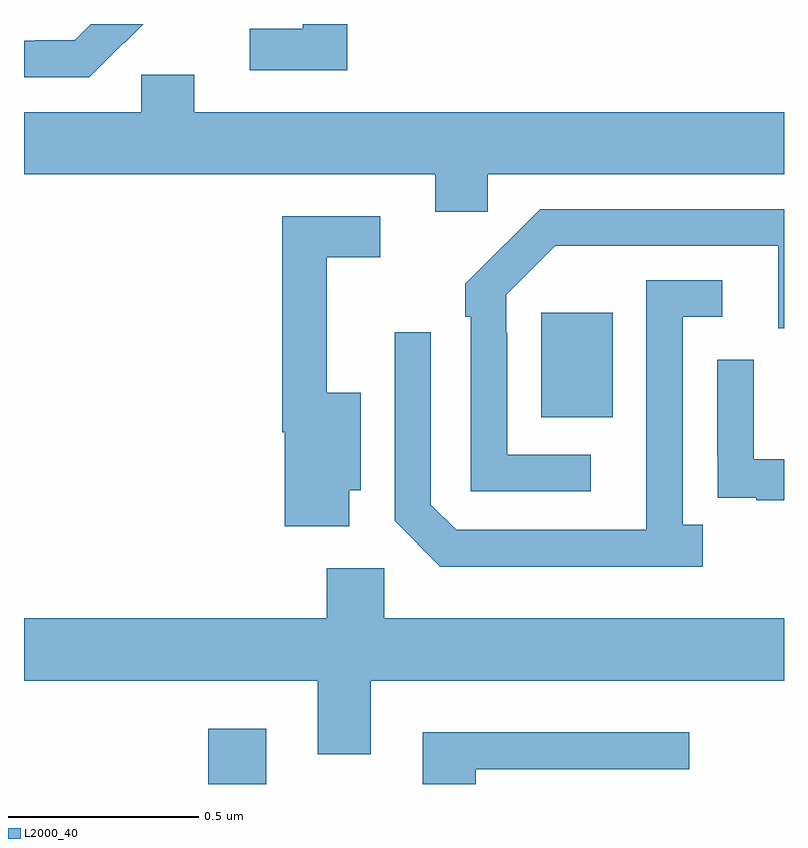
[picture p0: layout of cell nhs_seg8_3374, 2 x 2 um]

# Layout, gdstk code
import gdstk
lib = gdstk.Library(unit=1e-6, precision=1e-09)
def R(c, l, rs):  # rectangles x0, y0, x1, y1
    for r in rs: c.add(gdstk.rectangle(r[:2], r[2:], *l))
def P(c, l, *ps):  # polygons
    for p in ps: c.add(gdstk.Polygon(p, *l))
L2000_40 = (2000, 40)

nhs_seg8_3374 = lib.new_cell('nhs_seg8_3374')
R(nhs_seg8_3374, L2000_40, [(156.485,1110.9,156.637,1111.045), (157.361,1111.865,157.549,1112.14)])
P(nhs_seg8_3374, L2000_40, [(156.263,1112.851),(156.264,1112.85),(156.314,1112.9),(156.176,1112.9),(156.133,1112.857),(156.029,1112.857),(156.029,1112.856),(156,1112.856),(156,1112.76),(156.172,1112.76)],
  [(156.851,1112.9),(156.734,1112.9),(156.734,1112.887),(156.594,1112.887),(156.594,1112.778),(156.851,1112.778)],
  [(157.221,1112.504),(158,1112.504),(158,1112.668),(156.448,1112.668),(156.448,1112.766),(156.309,1112.766),(156.309,1112.668),(156,1112.668),(156,1112.504),(157.082,1112.504),(157.082,1112.406),(157.221,1112.406)],
  [(157.492,1111.767),(157.272,1111.767),(157.272,1112.087),(157.269,1112.087),(157.269,1112.187),(157.398,1112.316),(157.985,1112.316),(157.985,1112.1),(158,1112.1),(158,1112.412),(157.358,1112.412),(157.267,1112.321),(157.266,1112.322),(157.161,1112.217),(157.161,1112.129),(157.176,1112.129),(157.176,1111.671),(157.492,1111.671)],
  [(156.856,1111.673),(156.886,1111.673),(156.886,1111.93),(156.797,1111.93),(156.797,1112.286),(156.937,1112.286),(156.937,1112.394),(156.679,1112.394),(156.679,1111.826),(156.686,1111.826),(156.686,1111.578),(156.856,1111.578)],
  [(157.786,1111.582),(157.734,1111.582),(157.734,1112.13),(157.837,1112.13),(157.837,1112.226),(157.638,1112.226),(157.638,1111.769),(157.637,1111.769),(157.637,1111.569),(157.137,1111.569),(157.071,1111.635),(157.071,1112.089),(156.975,1112.089),(156.975,1111.593),(157.096,1111.472),(157.786,1111.472)],
  [(158,1111.755),(157.92,1111.755),(157.92,1112.017),(157.824,1112.017),(157.824,1111.762),(157.825,1111.762),(157.825,1111.653),(157.927,1111.653),(157.927,1111.647),(158,1111.647)],
  [(156.913,1111.172),(158,1111.172),(158,1111.336),(156.948,1111.336),(156.948,1111.468),(156.797,1111.468),(156.797,1111.336),(156,1111.336),(156,1111.172),(156.773,1111.172),(156.773,1110.978),(156.913,1110.978)],
  [(157.189,1110.939),(157.75,1110.939),(157.75,1111.036),(157.049,1111.036),(157.049,1110.9),(157.189,1110.9)])

lib.write_gds('nhs_seg8_3374.gds')
